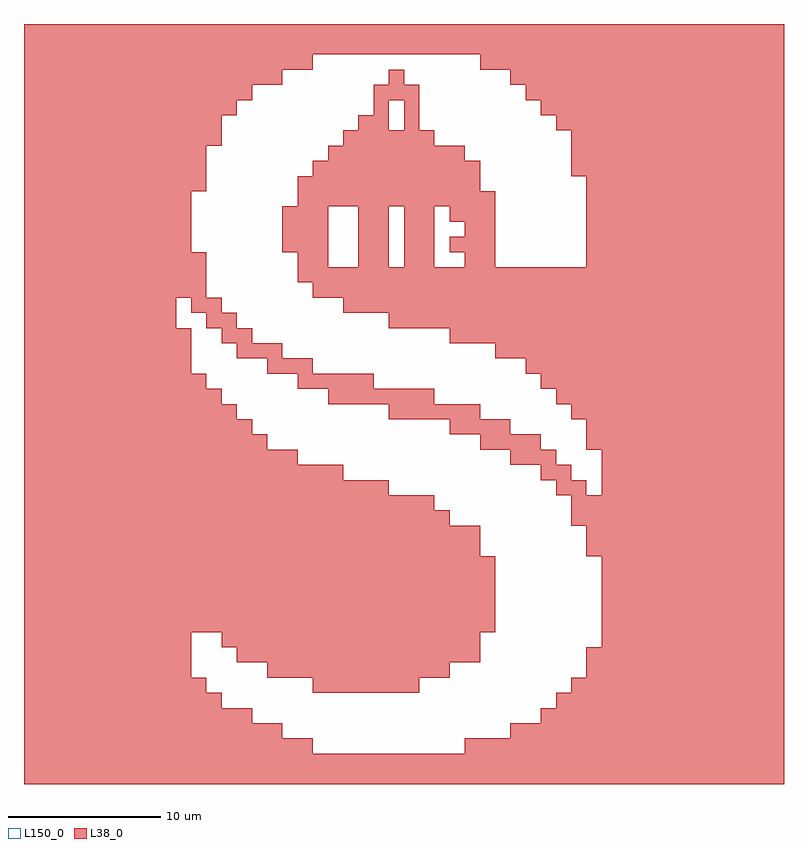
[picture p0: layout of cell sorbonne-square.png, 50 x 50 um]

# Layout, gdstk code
import gdstk
lib = gdstk.Library(unit=1e-6, precision=1e-09)
def R(c, l, rs):  # rectangles x0, y0, x1, y1
    for r in rs: c.add(gdstk.rectangle(r[:2], r[2:], *l))
def A(c, l, x, y, w, h, nx, ny, dx, dy):  # array of equal rectangles
    R(c, l, [(x+i*dx, y+j*dy, x+i*dx+w, y+j*dy+h) for i in range(nx) for j in range(ny)])
L38_0 = (38, 0)
L150_0 = (150, 0)

sorbonne_square_png = lib.new_cell('sorbonne-square.png')
A(sorbonne_square_png, L38_0, -25, -18, 11, 1, 1, 3, 0, 1)
A(sorbonne_square_png, L38_0, 13, -16, 12, 1, 1, 6, 0, 1)
A(sorbonne_square_png, L38_0, -25, -15, 31, 1, 1, 5, 0, 1)
A(sorbonne_square_png, L38_0, 13, -6, 12, 1, 1, 3, 0, 1)
A(sorbonne_square_png, L38_0, -25, 2, 11, 1, 1, 3, 0, 1)
A(sorbonne_square_png, L38_0, -25, 7, 12, 1, 1, 3, 0, 1)
A(sorbonne_square_png, L38_0, -3, 9, 2, 1, 1, 4, 0, 1)
A(sorbonne_square_png, L38_0, 0, 9, 2, 1, 1, 4, 0, 1)
A(sorbonne_square_png, L38_0, 12, 9, 13, 1, 1, 6, 0, 1)
A(sorbonne_square_png, L38_0, -25, 10, 11, 1, 1, 4, 0, 1)
A(sorbonne_square_png, L38_0, -8, 10, 3, 1, 1, 3, 0, 1)
A(sorbonne_square_png, L38_0, -25, 14, 12, 1, 1, 3, 0, 1)
A(sorbonne_square_png, L38_0, 11, 15, 14, 1, 1, 3, 0, 1)
R(sorbonne_square_png, L38_0, [(-25,-25,25,-24), (-25,-24,25,-23), (-25,-23,-6,-22), (4,-23,25,-22), (-25,-22,-8,-21), (7,-22,25,-21), (-25,-21,-10,-20), (9,-21,25,-20), (-25,-20,-12,-19), (10,-20,25,-19), (-25,-19,-13,-18), (-6,-19,1,-18), (11,-19,25,-18), (-9,-18,3,-17), (12,-18,25,-17), (-11,-17,5,-16), (12,-17,25,-16), (-12,-16,5,-15), (-25,-10,5,-9), (12,-10,25,-9), (-25,-9,5,-8), (12,-9,25,-8), (-25,-8,3,-7), (11,-8,25,-7), (-25,-7,2,-6), (11,-7,25,-6), (-25,-6,-1,-5), (10,-6,12,-5), (-25,-5,-4,-4), (9,-5,11,-4), (-25,-4,-7,-3), (7,-4,10,-3), (-25,-3,-9,-2), (5,-3,9,-2), (12,-3,25,-2), (-25,-2,-10,-1), (3,-2,7,-1), (12,-2,25,-1), (-25,-1,-11,0), (-1,-1,5,0), (11,-1,25,0), (-25,0,-12,1), (-5,0,2,1), (10,0,25,1), (-25,1,-13,2), (-7,1,-2,2), (9,1,25,2), (-9,2,-6,3), (8,2,25,3), (-11,3,-8,4), (6,3,25,4), (-12,4,-10,5), (3,4,25,5), (-25,5,-15,6), (-13,5,-11,6), (-1,5,25,6), (-25,6,-15,7), (-14,6,-12,7), (-4,6,25,7), (-6,7,25,8), (-7,8,25,9), (-7,9,-5,10), (4,9,6,10), (3,10,6,11), (4,11,6,12), (3,12,6,13), (-7,13,6,14), (-7,14,5,15), (-6,15,5,16), (-5,16,4,17), (-25,17,-12,18), (-4,17,2,18), (-25,18,-12,19), (-3,18,-1,19), (0,18,1,19), (10,18,25,19), (-25,19,-11,20), (-2,19,-1,20), (0,19,1,20), (9,19,25,20), (-25,20,-10,21), (-2,20,1,21), (8,20,25,21), (-25,21,-8,22), (-1,21,0,22), (7,21,25,22), (-25,22,-6,23), (5,22,25,23), (-25,23,25,24), (-25,24,25,25)])
R(sorbonne_square_png, L150_0, [(-25,-25,25,25)])

lib.write_gds('sorbonne-square.png.gds')
